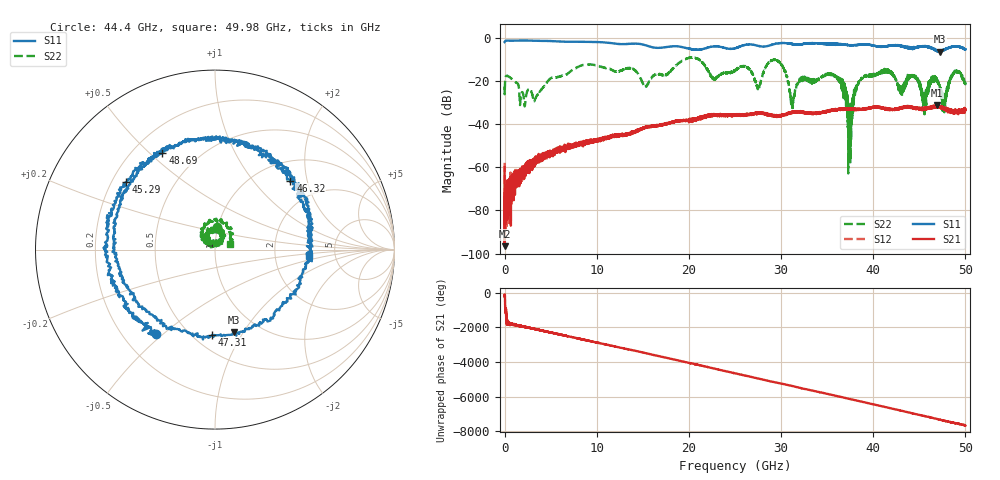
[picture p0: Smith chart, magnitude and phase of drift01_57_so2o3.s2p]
!Created with skrf (http://scikit-rf.org).
# Hz S RI R 50.0
!freq ReS11 ImS11 ReS21 ImS21 ReS12 ImS12 ReS22 ImS22
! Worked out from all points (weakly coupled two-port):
!   10001 points, 300 kHz to 50 GHz, reference 50 ohm
!   highest |S21| = -31.22 dB at 46.88 GHz (marker M1); lowest = -96.6 dB at 10.3 MHz (marker M2)
!   lowest |S11| = -6.5 dB at 47.2 GHz (marker M3), VSWR 2.78, Z = 38.5 - j45.5 ohm
!   |S11| at or under -10 dB: nowhere
!   |S22| runs from -62.9 to -9.2 dB; largest |S21 - S12| = 0.0038
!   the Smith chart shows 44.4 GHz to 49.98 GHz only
!   S11 on the Smith chart (normalised r, x): 44.4 GHz: 0.34, -0.47; 45.29 GHz: 0.26, +0.32; 46.32 GHz: 1.40, +1.59; 47.31 GHz: 0.61, -0.75; 48.69 GHz: 0.32, +0.55; 49.98 GHz: 3.18, -0.32
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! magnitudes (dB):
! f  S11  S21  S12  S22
! 300 kHz  -2.1  -60.0  -58.0  -22.6
! 10.3 MHz  -2.1  -96.6  -74.9  -25.6
! 3.29 GHz  -1.5  -58.5  -57.5  -28.8
! 8.335 GHz  -1.9  -48.7  -48.9  -12.9
! 16.67 GHz  -4.8  -40.6  -40.6  -16.7
! 25 GHz  -5.0  -35.6  -35.9  -15.4
! 29.58 GHz  -2.8  -36.2  -36.2  -10.6
! 31.24 GHz  -2.9  -34.8  -34.6  -32.6
! 33.34 GHz  -2.6  -35.1  -35.2  -20.6
! 36.13 GHz  -3.1  -33.4  -33.3  -18.3
! 37.48 GHz  -3.5  -33.3  -33.0  -31.3
! 38.64 GHz  -3.3  -33.2  -33.2  -19.5
! 41.67 GHz  -3.8  -33.1  -33.2  -15.8
! 44.4 GHz  -4.8  -32.2  -32.6  -17.8
! 45.29 GHz  -4.1  -32.6  -33.1  -25.1
! 46.32 GHz  -4.9  -32.4  -32.3  -19.2
! 46.88 GHz  -5.9  -31.2  -31.8  -19.0
! 47.2 GHz  -6.5  -32.3  -32.2  -22.3
! 47.31 GHz  -6.4  -32.4  -32.3  -24.1
! 48.69 GHz  -4.3  -35.2  -35.0  -16.1
! 49.98 GHz  -5.6  -33.2  -33.5  -21.3
! 50 GHz  -5.4  -33.6  -33.3  -21.3
